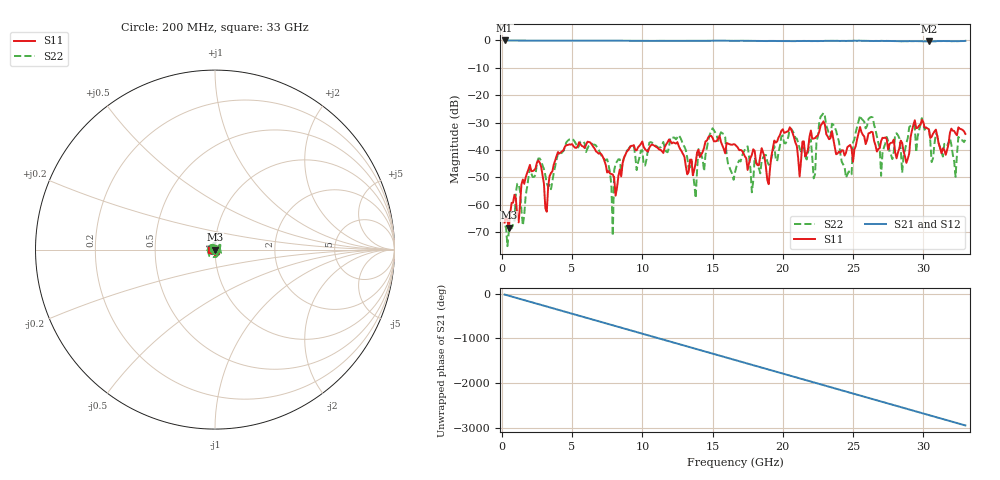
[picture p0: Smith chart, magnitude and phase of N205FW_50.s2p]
# GHZ S RI R 50
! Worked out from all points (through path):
!   329 points, 200 MHz to 33 GHz, reference 50 ohm
!   highest |S21| = -0.02 dB at 200 MHz (marker M1); lowest = -0.4 dB at 30.4 GHz (marker M2)
!   group delay of S21, straight-line fit = 248 ps
!   lowest |S11| = -68.3 dB at 500 MHz (marker M3), VSWR 1.00, Z = 50 + j0.0311 ohm
!   |S11| at or under -10 dB: start of sweep to end of sweep
!   |S22| runs from -75.1 to -26.5 dB; largest |S21 - S12| = 0.0022
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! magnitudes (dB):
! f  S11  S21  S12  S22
! 200 MHz  -66.5  0.0  0.0  -67.9
! 500 MHz  -68.3  0.0  0.0  -69.9
! 2 GHz  -45.4  -0.1  -0.1  -46.7
! 3.2 GHz  -62.5  -0.1  -0.1  -52.2
! 4 GHz  -40.8  -0.1  -0.1  -41.3
! 5.7 GHz  -38.5  -0.1  -0.1  -36.9
! 7.5 GHz  -48.2  -0.1  -0.1  -43.4
! 7.9 GHz  -49.0  -0.1  -0.1  -71.4
! 8.1 GHz  -56.7  -0.1  -0.1  -45.1
! 11.2 GHz  -39.8  -0.2  -0.2  -39.2
! 16.6 GHz  -38.0  -0.1  -0.1  -48.2
! 19 GHz  -52.5  -0.2  -0.2  -45.4
! 19.9 GHz  -33.0  -0.2  -0.2  -35.1
! 21.2 GHz  -49.7  -0.2  -0.2  -39.4
! 22.1 GHz  -35.9  -0.2  -0.2  -42.8
! 22.9 GHz  -29.6  -0.2  -0.2  -26.5
! 24.5 GHz  -41.0  -0.2  -0.2  -50.1
! 25.5 GHz  -31.6  -0.1  -0.1  -27.4
! 27.6 GHz  -37.8  -0.2  -0.2  -40.7
! 30.4 GHz  -32.4  -0.4  -0.4  -32.0
! 32.3 GHz  -34.0  -0.3  -0.3  -49.8
! 33 GHz  -34.1  -0.2  -0.2  -36.3
